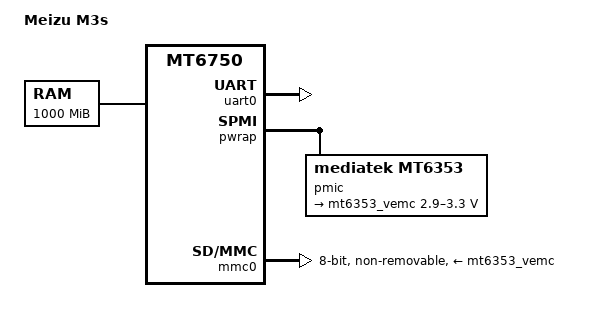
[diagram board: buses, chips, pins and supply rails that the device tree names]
// SPDX-License-Identifier: GPL-2.0-only
/*
 * Meizu M3s (Y15), MediaTek MT6750
 *
 * Storage-only port: pwrap + MT6353 VEMC + eMMC, plus UART0.
 *
 * Sources: Flyme 6.3.0.0G intl for M3s, unpacked in
 * /srv/forge/android/flyme_fw/m3s/unpacked (build.prop, stock-0.dts,
 * kernel.bin).  Facts quoted per node below.
 *
 * SoC identity.  stock-0.dts says model = "MT6755" / compatible
 * "mediatek,MT6755" (stock-0.dts:4-5), which is the MT6755 family name
 * that every MT6750 vendor tree uses.  build.prop resolves it:
 *     ro.board.platform=mt6750, ro.mediatek.platform=MT6755,
 *     ro.product.model=M3s, ro.build.flavor=full_Y15-user,
 *     ro.mediatek.version.release=ALPS.L1.MP10.V1.46.2_GR6750.66.L_P114
 * and the kernel is built for mach/mt6755/Y15.  The ALPS branch and
 * ro.board.platform both say MT6750, the commercial SoC string says the
 * family.  MT6750 down-bin it is.
 *
 * Caveat: the bundled stock-0.dtb carries a chosen atag for an FHD
 * nt35595 panel while the M3s kernel and LK only contain HD720 panels
 * (STOCK_TRUTH.md section 3.1), so it may be a reference DTB shipped in
 * the ROM.  The core layout used below (memory, ATF, pstore, pwrap,
 * AP_UART0, msdc0) is the MT6755/MT6750 family layout and is consistent
 * across the M6/M6T stock DTBs as well.
 */

/dts-v1/;

#include "mt6750.dtsi"
#include <dt-bindings/pinctrl/mt65xx.h>

/ {
	model = "Meizu M3s";
	chassis-type = "handset";
	compatible = "meizu,m3s", "mediatek,mt6750";

	aliases {
		serial0 = &uart0;
		mmc0 = &mmc0;
	};

	chosen {
		stdout-path = "serial0:921600n8";
	};

	/*
	 * Stock DTB value (stock-0.dts:159-162).  LK rewrites the memory
	 * node from the EMI settings on every boot; no live M3s unit has
	 * been measured, so nothing beyond the vendor value is claimed.
	 */
	memory@40000000 {
		device_type = "memory";
		reg = <0 0x40000000 0 0x3e800000>;
	};

	reserved-memory {
		#address-cells = <2>;
		#size-cells = <2>;
		ranges;

		/*
		 * Only two reservations are named by the stock DTB.  The
		 * usual ram-console/minidump/preloader/lk regions are not
		 * described there, so they are not invented here; 0x44400000
		 * (immediately below pstore) is the conventional ram-console
		 * slot but that is an inference, not evidence.
		 */
		pstore: pstore@44410000 {
			reg = <0 0x44410000 0 0xe0000>;
		};

		atf: atf@44600000 {
			reg = <0 0x44600000 0 0x40000>;
			no-map;
		};

		/*
		 * Modem/connectivity reservations, sizes from the stock DTS
		 * (stock-0.dts reserve-memory-ccci_md1, ccci_share,
		 * consys-reserve-memory, spm-reserve-memory).  The modem is
		 * not driven by this kernel, but its firmware may still be
		 * live when Linux boots.
		 */
		modem-md1 {
			size = <0 0x8000000>;
			alignment = <0 0x2000000>;
			alloc-ranges = <0 0x40000000 0 0xc0000000>;
			no-map;
		};

		modem-share {
			size = <0 0x600000>;
			alignment = <0 0x4000000>;
			alloc-ranges = <0 0x40000000 0 0xc0000000>;
			no-map;
		};

		consys {
			size = <0 0x200000>;
			alignment = <0 0x200000>;
			no-map;
		};

		spm {
			size = <0 0xe000>;
			alignment = <0 0x10000>;
			alloc-ranges = <0 0x40000000 0 0x80000000>;
			no-map;
		};
	};
};

/*
 * UART0: GPIO105 = URXD0, GPIO106 = UTXD0, function 1
 * (mt6755-pinfunc.h).  The stock DTS has AP_UART0@11002000 (IRQ 91, the
 * same controller/IRQ as the mt6750.dtsi uart0 node) and the kernel's
 * built-in cmdline is console=ttyMT0.  UNKNOWN: LK passes
 * console=ttyMT3, so the physical debug port on retail M3s is not
 * proven; the pads above are the SoC-standard UART0 routing, not a
 * board measurement.
 */
&pio {
	uart0_pins: uart0-pins {
		pins {
			pinmux = <(MTK_PIN_NO(105) | 1)>,
				 <(MTK_PIN_NO(106) | 1)>;
		};
	};
};

&uart0 {
	pinctrl-names = "default";
	pinctrl-0 = <&uart0_pins>;
	status = "okay";
};

/*
 * MT6353 PMIC, storage rails only.  Stock compatible is
 * "mediatek,mt6351-pmic", "mediatek,mt6353-pmic" (stock-0.dts:577-578)
 * and the stock 3.10 kernel only ships pmic/mt6353 drivers.  No
 * interrupt is described: the MT6353 nIRQ EINT number is not proven and
 * VEMC does not need one.
 *
 * VEMC 2.9-3.3 V and boot-on are the stock ldo_vemc values
 * (stock-0.dts:2537-2545: 0x2c4020-0x325aa0, regulator-boot-on); kept
 * always-on so the rail is never disabled without runtime proof.
 */
&pwrap {
	status = "okay";

	pmic: mt6353 {
		compatible = "mediatek,mt6353";
		#address-cells = <0>;

		regulators {
			mt6353_vemc: ldo-vemc {
				regulator-name = "vemc";
				regulator-min-microvolt = <2900000>;
				regulator-max-microvolt = <3300000>;
				regulator-always-on;
			};
		};
	};
};

/*
 * eMMC.  The 3.10 stock DTS only declares msdc0@11230000 (IRQ 79, clock
 * 0x1e) because bus width and the card supply live in the vendor msdc
 * platform data; recovery.fstab confirms the internal storage is
 * 11230000.msdc0.  bus-width 8 / non-removable / VEMC follow the MT6755
 * reference MSDC0 setup (cust_mt6755_msdc.dtsi) that the M6 and M6T stock
 * DTBs also use; they are not independently measured on M3s hardware.
 */
&mmc0 {
	vmmc-supply = <&mt6353_vemc>;
	bus-width = <8>;
	non-removable;
	no-sd;
	no-sdio;
	status = "okay";
};
